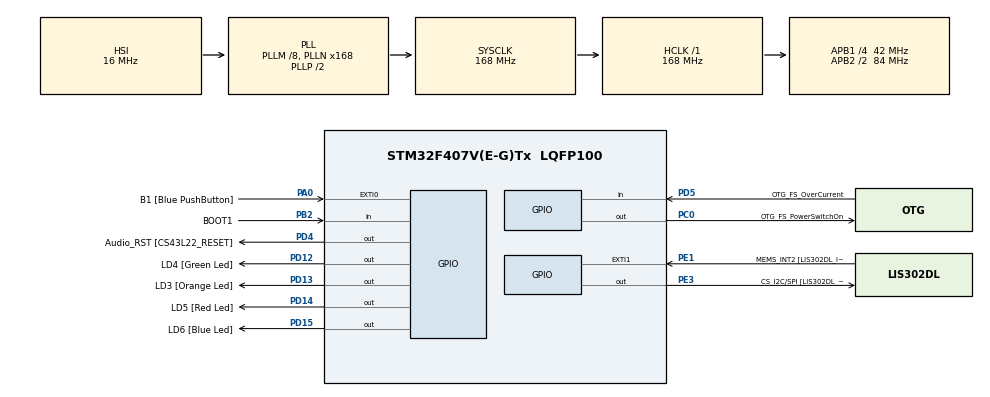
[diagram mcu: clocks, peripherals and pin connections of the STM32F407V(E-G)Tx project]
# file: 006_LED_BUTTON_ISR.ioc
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Mcu.Family=STM32F4
Mcu.Name=STM32F407V(E-G)Tx
Mcu.Package=LQFP100
NVIC.EXTI0_IRQn=true\:6\:0\:true\:false\:true\:true\:true\:true
NVIC.PriorityGroup=NVIC_PRIORITYGROUP_4
NVIC.TIM6_DAC_IRQn=true\:15\:0\:false\:false\:true\:false\:true\:true
NVIC.TimeBase=TIM6_DAC_IRQn
NVIC.TimeBaseIP=TIM6
PA0-WKUP.GPIO_Label=B1 [Blue PushButton]
PA0-WKUP.GPIO_ModeDefaultEXTI=GPIO_MODE_IT_FALLING
PA0-WKUP.Signal=GPXTI0
PA10.GPIO_Label=OTG_FS_ID
PA10.GPIO_Mode=GPIO_MODE_AF_PP
PA10.GPIO_PuPd=GPIO_NOPULL
PA10.GPIO_Speed=GPIO_SPEED_FREQ_LOW
PA10.Signal=USB_OTG_FS_ID
PA11.GPIO_Label=OTG_FS_DM
PA11.GPIO_Mode=GPIO_MODE_AF_PP
PA11.GPIO_PuPd=GPIO_NOPULL
PA11.GPIO_Speed=GPIO_SPEED_FREQ_LOW
PA11.Signal=USB_OTG_FS_DM
PA12.GPIO_Label=OTG_FS_DP
PA12.GPIO_Mode=GPIO_MODE_AF_PP
PA12.GPIO_PuPd=GPIO_NOPULL
PA12.GPIO_Speed=GPIO_SPEED_FREQ_LOW
PA12.Signal=USB_OTG_FS_DP
PA13.GPIO_Label=SWDIO
PA13.Signal=SYS_JTMS-SWDIO
PA14.GPIO_Label=SWCLK
PA14.Signal=SYS_JTCK-SWCLK
PA4.GPIO_Label=I2S3_WS [CS43L22_LRCK]
PA4.GPIO_Mode=GPIO_MODE_AF_PP
PA4.GPIO_PuPd=GPIO_NOPULL
PA4.GPIO_Speed=GPIO_SPEED_FREQ_LOW
PA4.Signal=I2S3_WS
PA5.GPIO_Label=SPI1_SCK [LIS302DL_SCL/SPC]
PA5.GPIO_Mode=GPIO_MODE_AF_PP
PA5.GPIO_PuPd=GPIO_NOPULL
PA5.GPIO_Speed=GPIO_SPEED_FREQ_LOW
PA5.Signal=SPI1_SCK
PA6.GPIO_Label=SPI1_MISO [LIS302DL_SDO]
PA6.GPIO_Mode=GPIO_MODE_AF_PP
PA6.GPIO_PuPd=GPIO_NOPULL
PA6.GPIO_Speed=GPIO_SPEED_FREQ_LOW
PA6.Signal=SPI1_MISO
PA7.GPIO_Label=SPI1_MOSI [LIS302DL_SDA/SDI/SDO]
PA7.GPIO_Mode=GPIO_MODE_AF_PP
PA7.GPIO_PuPd=GPIO_NOPULL
PA7.GPIO_Speed=GPIO_SPEED_FREQ_LOW
PA7.Signal=SPI1_MOSI
PA9.GPIO_Label=VBUS_FS
PA9.GPIO_Mode=GPIO_MODE_INPUT
PA9.GPIO_PuPd=GPIO_NOPULL
PA9.Signal=USB_OTG_FS_VBUS
PB10.GPIO_Label=CLK_IN [MP45DT02_CLK]
PB10.GPIO_Mode=GPIO_MODE_AF_PP
PB10.GPIO_PuPd=GPIO_NOPULL
PB10.GPIO_Speed=GPIO_SPEED_FREQ_LOW
PB10.Signal=I2S2_CK
PB2.GPIO_Label=BOOT1
PB2.GPIO_Mode=GPIO_MODE_INPUT
PB2.GPIO_PuPd=GPIO_NOPULL
PB2.Signal=GPIO_Input
PB3.GPIO_Label=SWO
PB3.Signal=SYS_JTDO-SWO
PB6.GPIO_Label=Audio_SCL [CS43L22_SCL]
PB6.GPIO_Mode=GPIO_MODE_AF_OD
PB6.GPIO_PuPd=GPIO_NOPULL
PB6.GPIO_Speed=GPIO_SPEED_FREQ_LOW
PB6.Signal=I2C1_SCL
PB9.GPIO_Label=Audio_SDA [CS43L22_SDA]
PB9.GPIO_Mode=GPIO_MODE_AF_OD
PB9.GPIO_PuPd=GPIO_NOPULL
PB9.GPIO_Speed=GPIO_SPEED_FREQ_LOW
PB9.Signal=I2C1_SDA
PC0.GPIO_Label=OTG_FS_PowerSwitchOn
PC0.GPIO_PuPd=GPIO_NOPULL
PC0.GPIO_Speed=GPIO_SPEED_FREQ_LOW
PC0.PinState=GPIO_PIN_SET
PC0.Signal=GPIO_Output
PC10.GPIO_Label=I2S3_SCK [CS43L22_SCLK]
PC10.GPIO_Mode=GPIO_MODE_AF_PP
PC10.GPIO_PuPd=GPIO_NOPULL
PC10.GPIO_Speed=GPIO_SPEED_FREQ_LOW
PC10.Signal=I2S3_CK
PC12.GPIO_Label=I2S3_SD [CS43L22_SDIN]
PC12.GPIO_Mode=GPIO_MODE_AF_PP
PC12.GPIO_PuPd=GPIO_NOPULL
PC12.GPIO_Speed=GPIO_SPEED_FREQ_LOW
PC12.Signal=I2S3_SD
PC14-OSC32_IN.GPIO_Label=PC14-OSC32_IN
PC14-OSC32_IN.Signal=RCC_OSC32_IN
PC15-OSC32_OUT.GPIO_Label=PC15-OSC32_OUT
PC15-OSC32_OUT.Signal=RCC_OSC32_OUT
PC3.GPIO_Label=PDM_OUT [MP45DT02_DOUT]
PC3.GPIO_Mode=GPIO_MODE_AF_PP
PC3.GPIO_PuPd=GPIO_NOPULL
PC3.GPIO_Speed=GPIO_SPEED_FREQ_LOW
PC3.Signal=I2S2_SD
PC7.GPIO_Label=I2S3_MCK [CS43L22_MCLK]
PC7.GPIO_Mode=GPIO_MODE_AF_PP
PC7.GPIO_PuPd=GPIO_NOPULL
PC7.GPIO_Speed=GPIO_SPEED_FREQ_LOW
PC7.Signal=I2S3_MCK
PD12.GPIO_Label=LD4 [Green Led]
PD12.GPIO_PuPd=GPIO_NOPULL
PD12.GPIO_Speed=GPIO_SPEED_FREQ_LOW
PD12.Signal=GPIO_Output
PD13.GPIO_Label=LD3 [Orange Led]
PD13.GPIO_PuPd=GPIO_NOPULL
PD13.GPIO_Speed=GPIO_SPEED_FREQ_LOW
PD13.Signal=GPIO_Output
PD14.GPIO_Label=LD5 [Red Led]
PD14.GPIO_PuPd=GPIO_NOPULL
PD14.GPIO_Speed=GPIO_SPEED_FREQ_LOW
PD14.Signal=GPIO_Output
PD15.GPIO_Label=LD6 [Blue Led]
PD15.GPIO_PuPd=GPIO_NOPULL
PD15.GPIO_Speed=GPIO_SPEED_FREQ_LOW
PD15.Signal=GPIO_Output
PD4.GPIO_Label=Audio_RST [CS43L22_RESET]
PD4.GPIO_PuPd=GPIO_NOPULL
PD4.GPIO_Speed=GPIO_SPEED_FREQ_LOW
PD4.Signal=GPIO_Output
PD5.GPIO_Label=OTG_FS_OverCurrent
PD5.GPIO_Mode=GPIO_MODE_INPUT
PD5.GPIO_PuPd=GPIO_NOPULL
PD5.Signal=GPIO_Input
PE1.GPIO_Label=MEMS_INT2 [LIS302DL_INT2]
PE1.GPIO_ModeDefaultEXTI=GPIO_MODE_EVT_RISING
PE1.GPIO_PuPd=GPIO_NOPULL
PE1.Signal=GPXTI1
PE3.GPIO_Label=CS_I2C/SPI [LIS302DL_CS_I2C/SPI]
PE3.GPIO_PuPd=GPIO_NOPULL
PE3.GPIO_Speed=GPIO_SPEED_FREQ_LOW
PE3.Signal=GPIO_Output
PH0-OSC_IN.GPIO_Label=PH0-OSC_IN
PH0-OSC_IN.Signal=RCC_OSC_IN
PH1-OSC_OUT.GPIO_Label=PH1-OSC_OUT
PH1-OSC_OUT.Signal=RCC_OSC_OUT
ProjectManager.HeapSize=0x200
ProjectManager.StackSize=0x400
ProjectManager.TargetToolchain=STM32CubeIDE
RCC.48MHZClocksFreq_Value=48000000
RCC.AHBFreq_Value=168000000
RCC.APB1CLKDivider=RCC_HCLK_DIV4
RCC.APB1Freq_Value=42000000
RCC.APB1TimFreq_Value=84000000
RCC.APB2CLKDivider=RCC_HCLK_DIV2
RCC.APB2Freq_Value=84000000
RCC.APB2TimFreq_Value=168000000
RCC.CortexFreq_Value=168000000
RCC.HCLKFreq_Value=168000000
RCC.HSE_VALUE=8000000
RCC.HSI_VALUE=16000000
RCC.LSE_VALUE=32768
RCC.PLLM=8
RCC.PLLN=168
RCC.PLLQ=7
RCC.SYSCLKFreq_VALUE=168000000
RCC.SYSCLKSource=RCC_SYSCLKSOURCE_PLLCLK
RCC.VCOOutputFreq_Value=336000000
VP_SYS_VS_tim6.Mode=TIM6
board=STM32F407G-DISC1

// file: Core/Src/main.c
/* USER CODE BEGIN Header */
/**
  ******************************************************************************
  * @file           : main.c
  * @brief          : Main program body
  ******************************************************************************
  * @attention
  *
  * <h2><center>&copy; Copyright (c) 2021 STMicroelectronics.
  * All rights reserved.</center></h2>
  *
  * This software component is licensed by ST under BSD 3-Clause license,
  * the "License"; You may not use this file except in compliance with the
  * License. You may obtain a copy of the License at:
  *                        opensource.org/licenses/BSD-3-Clause
  *
  ******************************************************************************
  */
/* USER CODE END Header */
#include "main.h"

/* USER CODE BEGIN Includes */

#include "FreeRTOS.h"
#include "task.h"

/* USER CODE END Includes */

/* USER CODE BEGIN PV */

#define DWT_CTRL    (*(volatile uint32_t*)0xE0001000)

/* USER CODE END PV */

void SystemClock_Config(void);
static void MX_GPIO_Init(void);
/* USER CODE BEGIN PFP */

static void led_green_handler(void* parameters);
static void led_orange_handler(void* parameters);
static void led_red_handler(void* parameters);
static void led_blue_handler(void* parameters);

TaskHandle_t ledg_task_handle;
TaskHandle_t ledo_task_handle;
TaskHandle_t ledr_task_handle;
TaskHandle_t ledb_task_handle;
TaskHandle_t btn_task_handle;

TaskHandle_t volatile next_task_handle = NULL;

/* USER CODE END PFP */

int main(void)
{

  /* USER CODE BEGIN 1 */

	BaseType_t status;

  /* USER CODE END 1 */

  /* MCU Configuration--------------------------------------------------------*/

  /* Reset of all peripherals, Initializes the Flash interface and the Systick. */
  HAL_Init();

  /* Configure the system clock */
  SystemClock_Config();

  /* Initialize all configured peripherals */
  MX_GPIO_Init();
  /* USER CODE BEGIN 2 */

  //CYCLCNT enable
  DWT_CTRL |= ( 1 << 0);

  SEGGER_SYSVIEW_Conf();
  SEGGER_SYSVIEW_Start();

  status = xTaskCreate(led_green_handler, "LED_green_task", 200, NULL, 3, &ledg_task_handle);

  configASSERT(status == pdPASS);

  next_task_handle = ledg_task_handle;

  status = xTaskCreate(led_orange_handler, "LED_orange_task", 200, NULL, 2, &ledo_task_handle);

   configASSERT(status == pdPASS);

  status = xTaskCreate(led_red_handler, "LED_red_task", 200,NULL, 1, &ledr_task_handle);

  configASSERT(status == pdPASS);

  status = xTaskCreate(led_blue_handler, "LED_blue_task", 200,NULL, 4, &ledb_task_handle);

  configASSERT(status == pdPASS);

  //start the freeRTOS scheduler
  vTaskStartScheduler();

  /* USER CODE END 2 */

  /* Infinite loop */
  while (1)
  {

  }
}

void SystemClock_Config(void)
{
  RCC_OscInitTypeDef RCC_OscInitStruct = {0};
  RCC_ClkInitTypeDef RCC_ClkInitStruct = {0};

  /** Configure the main internal regulator output voltage
  */
  __HAL_RCC_PWR_CLK_ENABLE();
  __HAL_PWR_VOLTAGESCALING_CONFIG(PWR_REGULATOR_VOLTAGE_SCALE1);

  /** Initializes the RCC Oscillators according to the specified parameters
  * in the RCC_OscInitTypeDef structure.
  */
  RCC_OscInitStruct.OscillatorType = RCC_OSCILLATORTYPE_HSI;
  RCC_OscInitStruct.HSIState = RCC_HSI_ON;
  RCC_OscInitStruct.HSICalibrationValue = RCC_HSICALIBRATION_DEFAULT;
  RCC_OscInitStruct.PLL.PLLState = RCC_PLL_ON;
  RCC_OscInitStruct.PLL.PLLSource = RCC_PLLSOURCE_HSI;
  RCC_OscInitStruct.PLL.PLLM = 8;
  RCC_OscInitStruct.PLL.PLLN = 168;
  RCC_OscInitStruct.PLL.PLLP = RCC_PLLP_DIV2;
  RCC_OscInitStruct.PLL.PLLQ = 7;
  if (HAL_RCC_OscConfig(&RCC_OscInitStruct) != HAL_OK)
  {
    Error_Handler();
  }

  /** Initializes the CPU, AHB and APB buses clocks
  */
  RCC_ClkInitStruct.ClockType = RCC_CLOCKTYPE_HCLK|RCC_CLOCKTYPE_SYSCLK
                              |RCC_CLOCKTYPE_PCLK1|RCC_CLOCKTYPE_PCLK2;
  RCC_ClkInitStruct.SYSCLKSource = RCC_SYSCLKSOURCE_PLLCLK;
  RCC_ClkInitStruct.AHBCLKDivider = RCC_SYSCLK_DIV1;
  RCC_ClkInitStruct.APB1CLKDivider = RCC_HCLK_DIV4;
  RCC_ClkInitStruct.APB2CLKDivider = RCC_HCLK_DIV2;

  if (HAL_RCC_ClockConfig(&RCC_ClkInitStruct, FLASH_LATENCY_5) != HAL_OK)
  {
    Error_Handler();
  }
}

static void MX_GPIO_Init(void)
{
  GPIO_InitTypeDef GPIO_InitStruct = {0};

  /* GPIO Ports Clock Enable */
  __HAL_RCC_GPIOE_CLK_ENABLE();
  __HAL_RCC_GPIOC_CLK_ENABLE();
  __HAL_RCC_GPIOH_CLK_ENABLE();
  __HAL_RCC_GPIOA_CLK_ENABLE();
  __HAL_RCC_GPIOB_CLK_ENABLE();
  __HAL_RCC_GPIOD_CLK_ENABLE();

  /*Configure GPIO pin Output Level */
  HAL_GPIO_WritePin(CS_I2C_SPI_GPIO_Port, CS_I2C_SPI_Pin, GPIO_PIN_RESET);

  /*Configure GPIO pin Output Level */
  HAL_GPIO_WritePin(OTG_FS_PowerSwitchOn_GPIO_Port, OTG_FS_PowerSwitchOn_Pin, GPIO_PIN_SET);

  /*Configure GPIO pin Output Level */
  HAL_GPIO_WritePin(GPIOD, LD4_Pin|LD3_Pin|LD5_Pin|LD6_Pin
                          |Audio_RST_Pin, GPIO_PIN_RESET);

  /*Configure GPIO pin : CS_I2C_SPI_Pin */
  GPIO_InitStruct.Pin = CS_I2C_SPI_Pin;
  GPIO_InitStruct.Mode = GPIO_MODE_OUTPUT_PP;
  GPIO_InitStruct.Pull = GPIO_NOPULL;
  GPIO_InitStruct.Speed = GPIO_SPEED_FREQ_LOW;
  HAL_GPIO_Init(CS_I2C_SPI_GPIO_Port, &GPIO_InitStruct);

  /*Configure GPIO pin : OTG_FS_PowerSwitchOn_Pin */
  GPIO_InitStruct.Pin = OTG_FS_PowerSwitchOn_Pin;
  GPIO_InitStruct.Mode = GPIO_MODE_OUTPUT_PP;
  GPIO_InitStruct.Pull = GPIO_NOPULL;
  GPIO_InitStruct.Speed = GPIO_SPEED_FREQ_LOW;
  HAL_GPIO_Init(OTG_FS_PowerSwitchOn_GPIO_Port, &GPIO_InitStruct);

  /*Configure GPIO pin : PDM_OUT_Pin */
  GPIO_InitStruct.Pin = PDM_OUT_Pin;
  GPIO_InitStruct.Mode = GPIO_MODE_AF_PP;
  GPIO_InitStruct.Pull = GPIO_NOPULL;
  GPIO_InitStruct.Speed = GPIO_SPEED_FREQ_LOW;
  GPIO_InitStruct.Alternate = GPIO_AF5_SPI2;
  HAL_GPIO_Init(PDM_OUT_GPIO_Port, &GPIO_InitStruct);

  /*Configure GPIO pin : B1_Pin */
  GPIO_InitStruct.Pin = B1_Pin;
  GPIO_InitStruct.Mode = GPIO_MODE_IT_FALLING;
  GPIO_InitStruct.Pull = GPIO_NOPULL;
  HAL_GPIO_Init(B1_GPIO_Port, &GPIO_InitStruct);

  /*Configure GPIO pin : I2S3_WS_Pin */
  GPIO_InitStruct.Pin = I2S3_WS_Pin;
  GPIO_InitStruct.Mode = GPIO_MODE_AF_PP;
  GPIO_InitStruct.Pull = GPIO_NOPULL;
  GPIO_InitStruct.Speed = GPIO_SPEED_FREQ_LOW;
  GPIO_InitStruct.Alternate = GPIO_AF6_SPI3;
  HAL_GPIO_Init(I2S3_WS_GPIO_Port, &GPIO_InitStruct);

  /*Configure GPIO pins : SPI1_SCK_Pin SPI1_MISO_Pin SPI1_MOSI_Pin */
  GPIO_InitStruct.Pin = SPI1_SCK_Pin|SPI1_MISO_Pin|SPI1_MOSI_Pin;
  GPIO_InitStruct.Mode = GPIO_MODE_AF_PP;
  GPIO_InitStruct.Pull = GPIO_NOPULL;
  GPIO_InitStruct.Speed = GPIO_SPEED_FREQ_LOW;
  GPIO_InitStruct.Alternate = GPIO_AF5_SPI1;
  HAL_GPIO_Init(GPIOA, &GPIO_InitStruct);

  /*Configure GPIO pin : BOOT1_Pin */
  GPIO_InitStruct.Pin = BOOT1_Pin;
  GPIO_InitStruct.Mode = GPIO_MODE_INPUT;
  GPIO_InitStruct.Pull = GPIO_NOPULL;
  HAL_GPIO_Init(BOOT1_GPIO_Port, &GPIO_InitStruct);

  /*Configure GPIO pin : CLK_IN_Pin */
  GPIO_InitStruct.Pin = CLK_IN_Pin;
  GPIO_InitStruct.Mode = GPIO_MODE_AF_PP;
  GPIO_InitStruct.Pull = GPIO_NOPULL;
  GPIO_InitStruct.Speed = GPIO_SPEED_FREQ_LOW;
  GPIO_InitStruct.Alternate = GPIO_AF5_SPI2;
  HAL_GPIO_Init(CLK_IN_GPIO_Port, &GPIO_InitStruct);

  /*Configure GPIO pins : LD4_Pin LD3_Pin LD5_Pin LD6_Pin
                           Audio_RST_Pin */
  GPIO_InitStruct.Pin = LD4_Pin|LD3_Pin|LD5_Pin|LD6_Pin
                          |Audio_RST_Pin;
  GPIO_InitStruct.Mode = GPIO_MODE_OUTPUT_PP;
  GPIO_InitStruct.Pull = GPIO_NOPULL;
  GPIO_InitStruct.Speed = GPIO_SPEED_FREQ_LOW;
  HAL_GPIO_Init(GPIOD, &GPIO_InitStruct);

  /*Configure GPIO pins : I2S3_MCK_Pin I2S3_SCK_Pin I2S3_SD_Pin */
  GPIO_InitStruct.Pin = I2S3_MCK_Pin|I2S3_SCK_Pin|I2S3_SD_Pin;
  GPIO_InitStruct.Mode = GPIO_MODE_AF_PP;
  GPIO_InitStruct.Pull = GPIO_NOPULL;
  GPIO_InitStruct.Speed = GPIO_SPEED_FREQ_LOW;
  GPIO_InitStruct.Alternate = GPIO_AF6_SPI3;
  HAL_GPIO_Init(GPIOC, &GPIO_InitStruct);

  /*Configure GPIO pin : VBUS_FS_Pin */
  GPIO_InitStruct.Pin = VBUS_FS_Pin;
  GPIO_InitStruct.Mode = GPIO_MODE_INPUT;
  GPIO_InitStruct.Pull = GPIO_NOPULL;
  HAL_GPIO_Init(VBUS_FS_GPIO_Port, &GPIO_InitStruct);

  /*Configure GPIO pins : OTG_FS_ID_Pin OTG_FS_DM_Pin OTG_FS_DP_Pin */
  GPIO_InitStruct.Pin = OTG_FS_ID_Pin|OTG_FS_DM_Pin|OTG_FS_DP_Pin;
  GPIO_InitStruct.Mode = GPIO_MODE_AF_PP;
  GPIO_InitStruct.Pull = GPIO_NOPULL;
  GPIO_InitStruct.Speed = GPIO_SPEED_FREQ_LOW;
  GPIO_InitStruct.Alternate = GPIO_AF10_OTG_FS;
  HAL_GPIO_Init(GPIOA, &GPIO_InitStruct);

  /*Configure GPIO pin : OTG_FS_OverCurrent_Pin */
  GPIO_InitStruct.Pin = OTG_FS_OverCurrent_Pin;
  GPIO_InitStruct.Mode = GPIO_MODE_INPUT;
  GPIO_InitStruct.Pull = GPIO_NOPULL;
  HAL_GPIO_Init(OTG_FS_OverCurrent_GPIO_Port, &GPIO_InitStruct);

  /*Configure GPIO pins : Audio_SCL_Pin Audio_SDA_Pin */
  GPIO_InitStruct.Pin = Audio_SCL_Pin|Audio_SDA_Pin;
  GPIO_InitStruct.Mode = GPIO_MODE_AF_OD;
  GPIO_InitStruct.Pull = GPIO_NOPULL;
  GPIO_InitStruct.Speed = GPIO_SPEED_FREQ_LOW;
  GPIO_InitStruct.Alternate = GPIO_AF4_I2C1;
  HAL_GPIO_Init(GPIOB, &GPIO_InitStruct);

  /*Configure GPIO pin : MEMS_INT2_Pin */
  GPIO_InitStruct.Pin = MEMS_INT2_Pin;
  GPIO_InitStruct.Mode = GPIO_MODE_EVT_RISING;
  GPIO_InitStruct.Pull = GPIO_NOPULL;
  HAL_GPIO_Init(MEMS_INT2_GPIO_Port, &GPIO_InitStruct);

  /* EXTI interrupt init*/
  HAL_NVIC_SetPriority(EXTI0_IRQn, 6, 0);
  HAL_NVIC_EnableIRQ(EXTI0_IRQn);

}

/* USER CODE BEGIN 4 */

void button_interrupt_handler(void)
{
	BaseType_t pxHigherPriorityTaskWoken;

	pxHigherPriorityTaskWoken = pdFALSE;

	traceISR_ENTER();
	xTaskNotifyFromISR(next_task_handle,0,eNoAction,&pxHigherPriorityTaskWoken);

	/* once the ISR exits, the below macro makes higher priority task which got unblocked to resume on the CPU */
	portYIELD_FROM_ISR(pxHigherPriorityTaskWoken);

	traceISR_EXIT();

}

static void led_green_handler(void* parameters)
{
	BaseType_t  status;
	while(1)
	{
		SEGGER_SYSVIEW_PrintfTarget("Toggling green LED");
		HAL_GPIO_TogglePin(GPIOD, LED_GREEN_PIN);
		status = xTaskNotifyWait(0,0,NULL,pdMS_TO_TICKS(1000));
		if(status == pdTRUE){
			portENTER_CRITICAL();
			next_task_handle = ledo_task_handle;
			HAL_GPIO_WritePin(GPIOD, LED_GREEN_PIN,GPIO_PIN_SET);
			SEGGER_SYSVIEW_PrintfTarget("Delete green LED task");
			portEXIT_CRITICAL();
			vTaskDelete(NULL);
		}

	}
}

static void led_orange_handler(void* parameters)
{
	BaseType_t  status;

	while(1)
	{
		SEGGER_SYSVIEW_PrintfTarget("Toggling orange LED");
		HAL_GPIO_TogglePin(GPIOD, LED_ORANGE_PIN );
		status = xTaskNotifyWait(0,0,NULL,pdMS_TO_TICKS(750));
		if(status == pdTRUE){
			portENTER_CRITICAL();
			next_task_handle = ledr_task_handle;
			HAL_GPIO_WritePin(GPIOD, LED_ORANGE_PIN,GPIO_PIN_SET);
			SEGGER_SYSVIEW_PrintfTarget("Delete orange LED task");
			portEXIT_CRITICAL();
			vTaskDelete(NULL);
		}

	}
}

static void led_red_handler(void* parameters)
{
	BaseType_t  status;

	while(1)
	{
		SEGGER_SYSVIEW_PrintfTarget("Toggling red LED");
		HAL_GPIO_TogglePin(GPIOD, LED_RED_PIN);
		status = xTaskNotifyWait(0,0,NULL,pdMS_TO_TICKS(500));
		if(status == pdTRUE){
			portENTER_CRITICAL();
			next_task_handle = ledb_task_handle;
			HAL_GPIO_WritePin(GPIOD, LED_RED_PIN,GPIO_PIN_SET);
			SEGGER_SYSVIEW_PrintfTarget("Delete red LED task");
			portEXIT_CRITICAL();
			vTaskDelete(NULL);
		}

	}

}
static void led_blue_handler(void* parameters)
{
	BaseType_t  status;

	while(1)
	{
		SEGGER_SYSVIEW_PrintfTarget("Toggling blue LED");
		HAL_GPIO_TogglePin(GPIOD, LED_BLUE_PIN);
		status = xTaskNotifyWait(0,0,NULL,pdMS_TO_TICKS(250));
		if(status == pdTRUE){
			portENTER_CRITICAL();
			next_task_handle = NULL;
			HAL_GPIO_WritePin(GPIOD, LED_BLUE_PIN,GPIO_PIN_SET);
			SEGGER_SYSVIEW_PrintfTarget("Delete blue LED task");
			portEXIT_CRITICAL();
			vTaskDelete(NULL);
		}

	}

}

/* USER CODE END 4 */

void HAL_TIM_PeriodElapsedCallback(TIM_HandleTypeDef *htim)
{
  if (htim->Instance == TIM6)
  {
    HAL_IncTick();
  }
}

void Error_Handler(void)
{
}
